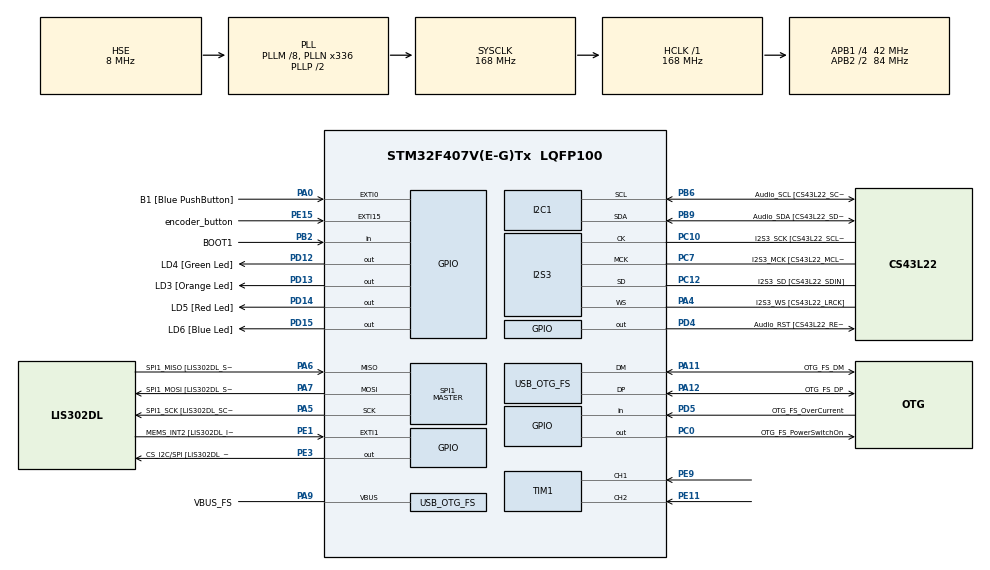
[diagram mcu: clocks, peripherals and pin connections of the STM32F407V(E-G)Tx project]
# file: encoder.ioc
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I2S3.AudioFreq-Half_Duplex_Master=I2S_AUDIOFREQ_96K
I2S3.ErrorAudioFreq=-2.34 %
I2S3.ErrorAudioFreq-Half_Duplex_Master=0.8 %
I2S3.FullDuplexMode=I2S_FULLDUPLEXMODE_DISABLE
I2S3.Instance=SPI$Index
I2S3.RealAudioFreq=93.75 KHz
I2S3.RealAudioFreq-Half_Duplex_Master=96.774 KHz
I2S3.VirtualMode=I2S_MODE_MASTER
Mcu.Family=STM32F4
Mcu.Name=STM32F407V(E-G)Tx
Mcu.Package=LQFP100
NVIC.EXTI15_10_IRQn=true\:0\:0\:false\:false\:true\:true\:true
NVIC.OTG_FS_IRQn=true\:0\:0\:false\:false\:true\:true\:true
NVIC.PriorityGroup=NVIC_PRIORITYGROUP_0
NVIC.TIM7_IRQn=true\:0\:0\:false\:false\:true\:true\:true
PA0-WKUP.GPIO_Label=B1 [Blue PushButton]
PA0-WKUP.GPIO_ModeDefaultEXTI=GPIO_MODE_EVT_RISING
PA0-WKUP.GPIO_PuPd=GPIO_NOPULL
PA0-WKUP.Signal=GPXTI0
PA10.GPIO_Label=OTG_FS_ID
PA10.GPIO_Mode=GPIO_MODE_AF_PP
PA10.GPIO_PuPd=GPIO_NOPULL
PA10.GPIO_Speed=GPIO_SPEED_FREQ_LOW
PA10.Signal=USB_OTG_FS_ID
PA11.GPIO_Label=OTG_FS_DM
PA11.GPIO_Mode=GPIO_MODE_AF_PP
PA11.GPIO_PuPd=GPIO_NOPULL
PA11.GPIO_Speed=GPIO_SPEED_FREQ_LOW
PA11.Mode=Host_Only
PA11.Signal=USB_OTG_FS_DM
PA12.GPIO_Label=OTG_FS_DP
PA12.GPIO_Mode=GPIO_MODE_AF_PP
PA12.GPIO_PuPd=GPIO_NOPULL
PA12.GPIO_Speed=GPIO_SPEED_FREQ_LOW
PA12.Mode=Host_Only
PA12.Signal=USB_OTG_FS_DP
PA13.GPIO_Label=SWDIO
PA13.Mode=Serial_Wire
PA13.Signal=SYS_JTMS-SWDIO
PA14.GPIO_Label=SWCLK
PA14.Mode=Serial_Wire
PA14.Signal=SYS_JTCK-SWCLK
PA4.GPIO_Label=I2S3_WS [CS43L22_LRCK]
PA4.GPIO_Mode=GPIO_MODE_AF_PP
PA4.GPIO_PuPd=GPIO_NOPULL
PA4.GPIO_Speed=GPIO_SPEED_FREQ_LOW
PA4.Mode=Half_Duplex_Master
PA4.Signal=I2S3_WS
PA5.GPIO_Label=SPI1_SCK [LIS302DL_SCL/SPC]
PA5.GPIO_Mode=GPIO_MODE_AF_PP
PA5.GPIO_PuPd=GPIO_NOPULL
PA5.GPIO_Speed=GPIO_SPEED_FREQ_LOW
PA5.Mode=Full_Duplex_Master
PA5.Signal=SPI1_SCK
PA6.GPIO_Label=SPI1_MISO [LIS302DL_SDO]
PA6.GPIO_Mode=GPIO_MODE_AF_PP
PA6.GPIO_PuPd=GPIO_NOPULL
PA6.GPIO_Speed=GPIO_SPEED_FREQ_LOW
PA6.Mode=Full_Duplex_Master
PA6.Signal=SPI1_MISO
PA7.GPIO_Label=SPI1_MOSI [LIS302DL_SDA/SDI/SDO]
PA7.GPIO_Mode=GPIO_MODE_AF_PP
PA7.GPIO_PuPd=GPIO_NOPULL
PA7.GPIO_Speed=GPIO_SPEED_FREQ_LOW
PA7.Mode=Full_Duplex_Master
PA7.Signal=SPI1_MOSI
PA9.GPIO_Label=VBUS_FS
PA9.GPIO_Mode=GPIO_MODE_INPUT
PA9.GPIO_PuPd=GPIO_NOPULL
PA9.Mode=Activate_VBUS
PA9.Signal=USB_OTG_FS_VBUS
PB10.GPIO_Label=CLK_IN [MP45DT02_CLK]
PB10.GPIO_Mode=GPIO_MODE_AF_PP
PB10.GPIO_PuPd=GPIO_NOPULL
PB10.GPIO_Speed=GPIO_SPEED_FREQ_LOW
PB10.Signal=I2S2_CK
PB2.GPIO_Label=BOOT1
PB2.GPIO_Mode=GPIO_MODE_INPUT
PB2.GPIO_PuPd=GPIO_NOPULL
PB2.Signal=GPIO_Input
PB3.GPIO_Label=SWO
PB3.Signal=SYS_JTDO-SWO
PB6.GPIO_Label=Audio_SCL [CS43L22_SCL]
PB6.GPIO_Mode=GPIO_MODE_AF_OD
PB6.GPIO_Pu=GPIO_PULLUP
PB6.GPIO_PuPd=GPIO_NOPULL
PB6.GPIO_Speed=GPIO_SPEED_FREQ_LOW
PB6.Mode=I2C
PB6.Signal=I2C1_SCL
PB9.GPIO_Label=Audio_SDA [CS43L22_SDA]
PB9.GPIO_Mode=GPIO_MODE_AF_OD
PB9.GPIO_Pu=GPIO_PULLUP
PB9.GPIO_PuPd=GPIO_NOPULL
PB9.GPIO_Speed=GPIO_SPEED_FREQ_LOW
PB9.Mode=I2C
PB9.Signal=I2C1_SDA
PC0.GPIO_Label=OTG_FS_PowerSwitchOn
PC0.GPIO_PuPd=GPIO_NOPULL
PC0.GPIO_Speed=GPIO_SPEED_FREQ_LOW
PC0.PinState=GPIO_PIN_SET
PC0.Signal=GPIO_Output
PC10.GPIO_Label=I2S3_SCK [CS43L22_SCLK]
PC10.GPIO_Mode=GPIO_MODE_AF_PP
PC10.GPIO_PuPd=GPIO_NOPULL
PC10.GPIO_Speed=GPIO_SPEED_FREQ_LOW
PC10.Mode=Half_Duplex_Master
PC10.Signal=I2S3_CK
PC12.GPIO_Label=I2S3_SD [CS43L22_SDIN]
PC12.GPIO_Mode=GPIO_MODE_AF_PP
PC12.GPIO_PuPd=GPIO_NOPULL
PC12.GPIO_Speed=GPIO_SPEED_FREQ_LOW
PC12.Mode=Half_Duplex_Master
PC12.Signal=I2S3_SD
PC14-OSC32_IN.GPIO_Label=PC14-OSC32_IN
PC14-OSC32_IN.Mode=LSE-External-Oscillator
PC14-OSC32_IN.Signal=RCC_OSC32_IN
PC15-OSC32_OUT.GPIO_Label=PC15-OSC32_OUT
PC15-OSC32_OUT.Mode=LSE-External-Oscillator
PC15-OSC32_OUT.Signal=RCC_OSC32_OUT
PC3.GPIO_Label=PDM_OUT [MP45DT02_DOUT]
PC3.GPIO_Mode=GPIO_MODE_AF_PP
PC3.GPIO_PuPd=GPIO_NOPULL
PC3.GPIO_Speed=GPIO_SPEED_FREQ_LOW
PC3.Signal=I2S2_SD
PC7.GPIO_Label=I2S3_MCK [CS43L22_MCLK]
PC7.GPIO_Mode=GPIO_MODE_AF_PP
PC7.GPIO_PuPd=GPIO_NOPULL
PC7.GPIO_Speed=GPIO_SPEED_FREQ_LOW
PC7.Mode=Master_Clock_Activated
PC7.Signal=I2S3_MCK
PD12.GPIO_Label=LD4 [Green Led]
PD12.GPIO_PuPd=GPIO_NOPULL
PD12.GPIO_Speed=GPIO_SPEED_FREQ_LOW
PD12.Signal=GPIO_Output
PD13.GPIO_Label=LD3 [Orange Led]
PD13.GPIO_PuPd=GPIO_NOPULL
PD13.GPIO_Speed=GPIO_SPEED_FREQ_LOW
PD13.Signal=GPIO_Output
PD14.GPIO_Label=LD5 [Red Led]
PD14.GPIO_PuPd=GPIO_NOPULL
PD14.GPIO_Speed=GPIO_SPEED_FREQ_LOW
PD14.Signal=GPIO_Output
PD15.GPIO_Label=LD6 [Blue Led]
PD15.GPIO_PuPd=GPIO_NOPULL
PD15.GPIO_Speed=GPIO_SPEED_FREQ_LOW
PD15.Signal=GPIO_Output
PD4.GPIO_Label=Audio_RST [CS43L22_RESET]
PD4.GPIO_PuPd=GPIO_NOPULL
PD4.GPIO_Speed=GPIO_SPEED_FREQ_LOW
PD4.Signal=GPIO_Output
PD5.GPIO_Label=OTG_FS_OverCurrent
PD5.GPIO_Mode=GPIO_MODE_INPUT
PD5.GPIO_PuPd=GPIO_NOPULL
PD5.Signal=GPIO_Input
PE1.GPIO_Label=MEMS_INT2 [LIS302DL_INT2]
PE1.GPIO_ModeDefaultEXTI=GPIO_MODE_EVT_RISING
PE1.GPIO_PuPd=GPIO_NOPULL
PE1.Signal=GPXTI1
PE11.Signal=S_TIM1_CH2
PE15.GPIO_Label=encoder_button
PE15.GPIO_ModeDefaultEXTI=GPIO_MODE_IT_FALLING
PE15.GPIO_PuPd=GPIO_NOPULL
PE15.Signal=GPXTI15
PE3.GPIO_Label=CS_I2C/SPI [LIS302DL_CS_I2C/SPI]
PE3.GPIO_PuPd=GPIO_NOPULL
PE3.GPIO_Speed=GPIO_SPEED_FREQ_LOW
PE3.Signal=GPIO_Output
PE9.Signal=S_TIM1_CH1
PH0-OSC_IN.GPIO_Label=PH0-OSC_IN
PH0-OSC_IN.Mode=HSE-External-Oscillator
PH0-OSC_IN.Signal=RCC_OSC_IN
PH1-OSC_OUT.GPIO_Label=PH1-OSC_OUT
PH1-OSC_OUT.Mode=HSE-External-Oscillator
PH1-OSC_OUT.Signal=RCC_OSC_OUT
ProjectManager.HeapSize=0x200
ProjectManager.StackSize=0x400
ProjectManager.TargetToolchain=STM32CubeIDE
RCC.48MHZClocksFreq_Value=48000000
RCC.AHBFreq_Value=168000000
RCC.APB1CLKDivider=RCC_HCLK_DIV4
RCC.APB1Freq_Value=42000000
RCC.APB1TimFreq_Value=84000000
RCC.APB2CLKDivider=RCC_HCLK_DIV2
RCC.APB2Freq_Value=84000000
RCC.APB2TimFreq_Value=168000000
RCC.CortexFreq_Value=168000000
RCC.HCLKFreq_Value=168000000
RCC.HSE_VALUE=8000000
RCC.HSI_VALUE=16000000
RCC.PLLM=8
RCC.PLLN=336
RCC.PLLQ=7
RCC.SYSCLKFreq_VALUE=168000000
RCC.SYSCLKSource=RCC_SYSCLKSOURCE_PLLCLK
RCC.VCOOutputFreq_Value=336000000
SH.S_TIM1_CH1.0=TIM1_CH1,Encoder_Interface
SH.S_TIM1_CH2.0=TIM1_CH2,Encoder_Interface
SPI1.BaudRatePrescaler-Full_Duplex_Master=SPI_BAUDRATEPRESCALER_2
SPI1.CalculateBaudRate-Full_Duplex_Master=42.0 MBits/s
SPI1.Direction=SPI_DIRECTION_2LINES
SPI1.Mode=SPI_MODE_MASTER
SPI1.Mode-Full_Duplex_Master=SPI_MODE_MASTER
SPI1.VirtualType=VM_MASTER
TIM7.Period=100-1
TIM7.Prescaler=8400-1
TIM7.TIM_MasterOutputTrigger=TIM_TRGO_RESET
USB_HOST.BSP.number=1
USB_HOST.USBH_HandleTypeDef-CDC_FS=hUsbHostFS
USB_HOST.VirtualModeFS=Cdc
USB_HOST0.BSP.STBoard=false
USB_HOST0.BSP.api=Unknown
USB_HOST0.BSP.i2caddr=0
USB_HOST0.BSP.i2creg=0
USB_HOST0.BSP.instance=PC0
USB_HOST0.BSP.ip=GPIO
USB_HOST0.BSP.mode=Output
USB_HOST0.BSP.name=Drive_VBUS_FS
USB_HOST0.BSP.solution=PC0
USB_OTG_FS.VirtualMode=Host_Only
USB_OTG_FS.phy_itface=HCD_PHY_EMBEDDED
VP_TIM7_VS_ClockSourceINT.Mode=Enable_Timer
VP_USB_HOST_VS_USB_HOST_CDC_FS.Mode=CDC_FS
board=STM32F407G-DISC1

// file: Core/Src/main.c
/* USER CODE BEGIN Header */
/**
  ******************************************************************************
  * @file           : main.c
  * @brief          : Main program body
  ******************************************************************************
  * @attention
  *
  * Copyright (c) 2022 STMicroelectronics.
  * All rights reserved.
  *
  * This software is licensed under terms that can be found in the LICENSE file
  * in the root directory of this software component.
  * If no LICENSE file comes with this software, it is provided AS-IS.
  *
  ******************************************************************************
  */
/* USER CODE END Header */
#include "main.h"
#include "usb_host.h"

/* USER CODE BEGIN Includes */
int32_t currCounter = 0;
int32_t prevCounter = 0;
int klick = 0;
/* USER CODE END Includes */

I2C_HandleTypeDef hi2c1;

I2S_HandleTypeDef hi2s3;

SPI_HandleTypeDef hspi1;

TIM_HandleTypeDef htim1;
TIM_HandleTypeDef htim7;

void SystemClock_Config(void);
static void MX_GPIO_Init(void);
static void MX_I2C1_Init(void);
static void MX_I2S3_Init(void);
static void MX_SPI1_Init(void);
static void MX_TIM1_Init(void);
static void MX_TIM7_Init(void);
void MX_USB_HOST_Process(void);

int main(void)
{

  /* MCU Configuration--------------------------------------------------------*/

  /* Reset of all peripherals, Initializes the Flash interface and the Systick. */
  HAL_Init();

  /* Configure the system clock */
  SystemClock_Config();

  /* Initialize all configured peripherals */
  MX_GPIO_Init();
  MX_I2C1_Init();
  MX_I2S3_Init();
  MX_SPI1_Init();
  MX_USB_HOST_Init();
  MX_TIM1_Init();
  MX_TIM7_Init();

  /* Infinite loop */
  /* USER CODE BEGIN WHILE */

  HAL_TIM_Encoder_Start(&htim1, TIM_CHANNEL_1);								// Timmer for count UP and DOWN
  __HAL_TIM_SET_COUNTER(&htim1, 0);											// Set encoder in 0

  while (1)
  {
	  switch (klick)
	  {
	  	  case 0:
	  		  HAL_GPIO_WritePin(GPIOD, LD6_Pin, GPIO_PIN_SET);
	  		  HAL_GPIO_WritePin(GPIOD, LD4_Pin, GPIO_PIN_RESET);

	  		  __HAL_TIM_SET_COUNTER(&htim1, 0);								// Start count encoder from 0

	  		  while(klick == 0)
	  		  {
	  			  currCounter = __HAL_TIM_GET_COUNTER(&htim1);
	  			  currCounter = 32767 - ((currCounter-1) & 0xFFFF) / 2;

	  			  if(currCounter != prevCounter)
	  			  {
	  				  if(currCounter > 100)									// Encoder count from 0 to 100
	  				  {
	  					  __HAL_TIM_SET_COUNTER(&htim1, 0);
	  				  }
	  				  prevCounter = currCounter;
	  			  }
	  		  }

	  		  break;

	  	  case 1:
	  		  HAL_GPIO_WritePin(GPIOD, LD5_Pin, GPIO_PIN_SET);
	  		  HAL_GPIO_WritePin(GPIOD, LD6_Pin, GPIO_PIN_RESET);

	  		  __HAL_TIM_SET_COUNTER(&htim1, 0);								// Start count encoder from 0

	  		 while(klick == 1)
	  		 {
	  			 currCounter = __HAL_TIM_GET_COUNTER(&htim1);
	  			 currCounter = 32767 - ((currCounter-1) & 0xFFFF) / 2;

	  			 if(currCounter != prevCounter)
	  			 {
	  				 if(currCounter > 10)
	  				 {
	  					 __HAL_TIM_SET_COUNTER(&htim1, 0);					// Encoder count from 0 to 10
	  				 }

	  				 prevCounter = currCounter;

	  			 }
	  		 }

	  		  break;

	  	  case 2:
	  		 HAL_GPIO_WritePin(GPIOD, LD3_Pin, GPIO_PIN_SET);
	  		 HAL_GPIO_WritePin(GPIOD, LD5_Pin, GPIO_PIN_RESET);

	  		 __HAL_TIM_SET_COUNTER(&htim1, 1);								// Start count encoder from 1

	  		 while(klick == 2)
	  		 {
	  			 currCounter = __HAL_TIM_GET_COUNTER(&htim1);
	  			 currCounter = 32767 - ((currCounter-1) & 0xFFFF) / 2;

	  			 if(currCounter != prevCounter)
	  			 {
	  				 if(currCounter > 31)
	  				 {
	  					 __HAL_TIM_SET_COUNTER(&htim1, 0);					// Encoder count from 1 to 32
	  				 }

	  				 prevCounter = currCounter;

	  			 }
	  		 }
	  		 break;

	  	  case 3:
	  		  HAL_GPIO_WritePin(GPIOD, LD4_Pin, GPIO_PIN_SET);
	  		  HAL_GPIO_WritePin(GPIOD, LD3_Pin, GPIO_PIN_RESET);

	  		  __HAL_TIM_SET_COUNTER(&htim1, 0);

	  		  while(klick == 3)
	  		  {
	  			  currCounter = __HAL_TIM_GET_COUNTER(&htim1);
	  			  currCounter = 32767 - ((currCounter-1) & 0xFFFF) / 2;

	  			  if(currCounter != prevCounter)
	  			  {
	  				  if(currCounter > 20)
	  				  {
	  					  __HAL_TIM_SET_COUNTER(&htim1, 0);
	  				  }

	  				  prevCounter = currCounter;

	  			  }
	  		  }
	  		  break;
	  }

    /* USER CODE END WHILE */
    MX_USB_HOST_Process();

  }
}

void SystemClock_Config(void)
{
  RCC_OscInitTypeDef RCC_OscInitStruct = {0};
  RCC_ClkInitTypeDef RCC_ClkInitStruct = {0};

  /** Configure the main internal regulator output voltage
  */
  __HAL_RCC_PWR_CLK_ENABLE();
  __HAL_PWR_VOLTAGESCALING_CONFIG(PWR_REGULATOR_VOLTAGE_SCALE1);
  /** Initializes the RCC Oscillators according to the specified parameters
  * in the RCC_OscInitTypeDef structure.
  */
  RCC_OscInitStruct.OscillatorType = RCC_OSCILLATORTYPE_HSE;
  RCC_OscInitStruct.HSEState = RCC_HSE_ON;
  RCC_OscInitStruct.PLL.PLLState = RCC_PLL_ON;
  RCC_OscInitStruct.PLL.PLLSource = RCC_PLLSOURCE_HSE;
  RCC_OscInitStruct.PLL.PLLM = 8;
  RCC_OscInitStruct.PLL.PLLN = 336;
  RCC_OscInitStruct.PLL.PLLP = RCC_PLLP_DIV2;
  RCC_OscInitStruct.PLL.PLLQ = 7;
  if (HAL_RCC_OscConfig(&RCC_OscInitStruct) != HAL_OK)
  {
    Error_Handler();
  }
  /** Initializes the CPU, AHB and APB buses clocks
  */
  RCC_ClkInitStruct.ClockType = RCC_CLOCKTYPE_HCLK|RCC_CLOCKTYPE_SYSCLK
                              |RCC_CLOCKTYPE_PCLK1|RCC_CLOCKTYPE_PCLK2;
  RCC_ClkInitStruct.SYSCLKSource = RCC_SYSCLKSOURCE_PLLCLK;
  RCC_ClkInitStruct.AHBCLKDivider = RCC_SYSCLK_DIV1;
  RCC_ClkInitStruct.APB1CLKDivider = RCC_HCLK_DIV4;
  RCC_ClkInitStruct.APB2CLKDivider = RCC_HCLK_DIV2;

  if (HAL_RCC_ClockConfig(&RCC_ClkInitStruct, FLASH_LATENCY_5) != HAL_OK)
  {
    Error_Handler();
  }
}

static void MX_I2C1_Init(void)
{

  hi2c1.Instance = I2C1;
  hi2c1.Init.ClockSpeed = 100000;
  hi2c1.Init.DutyCycle = I2C_DUTYCYCLE_2;
  hi2c1.Init.OwnAddress1 = 0;
  hi2c1.Init.AddressingMode = I2C_ADDRESSINGMODE_7BIT;
  hi2c1.Init.DualAddressMode = I2C_DUALADDRESS_DISABLE;
  hi2c1.Init.OwnAddress2 = 0;
  hi2c1.Init.GeneralCallMode = I2C_GENERALCALL_DISABLE;
  hi2c1.Init.NoStretchMode = I2C_NOSTRETCH_DISABLE;
  if (HAL_I2C_Init(&hi2c1) != HAL_OK)
  {
    Error_Handler();
  }

}

static void MX_I2S3_Init(void)
{

  hi2s3.Instance = SPI3;
  hi2s3.Init.Mode = I2S_MODE_MASTER_TX;
  hi2s3.Init.Standard = I2S_STANDARD_PHILIPS;
  hi2s3.Init.DataFormat = I2S_DATAFORMAT_16B;
  hi2s3.Init.MCLKOutput = I2S_MCLKOUTPUT_ENABLE;
  hi2s3.Init.AudioFreq = I2S_AUDIOFREQ_96K;
  hi2s3.Init.CPOL = I2S_CPOL_LOW;
  hi2s3.Init.ClockSource = I2S_CLOCK_PLL;
  hi2s3.Init.FullDuplexMode = I2S_FULLDUPLEXMODE_DISABLE;
  if (HAL_I2S_Init(&hi2s3) != HAL_OK)
  {
    Error_Handler();
  }

}

static void MX_SPI1_Init(void)
{

  /* SPI1 parameter configuration*/
  hspi1.Instance = SPI1;
  hspi1.Init.Mode = SPI_MODE_MASTER;
  hspi1.Init.Direction = SPI_DIRECTION_2LINES;
  hspi1.Init.DataSize = SPI_DATASIZE_8BIT;
  hspi1.Init.CLKPolarity = SPI_POLARITY_LOW;
  hspi1.Init.CLKPhase = SPI_PHASE_1EDGE;
  hspi1.Init.NSS = SPI_NSS_SOFT;
  hspi1.Init.BaudRatePrescaler = SPI_BAUDRATEPRESCALER_2;
  hspi1.Init.FirstBit = SPI_FIRSTBIT_MSB;
  hspi1.Init.TIMode = SPI_TIMODE_DISABLE;
  hspi1.Init.CRCCalculation = SPI_CRCCALCULATION_DISABLE;
  hspi1.Init.CRCPolynomial = 10;
  if (HAL_SPI_Init(&hspi1) != HAL_OK)
  {
    Error_Handler();
  }

}

static void MX_TIM1_Init(void)
{

  TIM_Encoder_InitTypeDef sConfig = {0};
  TIM_MasterConfigTypeDef sMasterConfig = {0};

  htim1.Instance = TIM1;
  htim1.Init.Prescaler = 0;
  htim1.Init.CounterMode = TIM_COUNTERMODE_UP;
  htim1.Init.Period = 65535;
  htim1.Init.ClockDivision = TIM_CLOCKDIVISION_DIV1;
  htim1.Init.RepetitionCounter = 0;
  htim1.Init.AutoReloadPreload = TIM_AUTORELOAD_PRELOAD_DISABLE;
  sConfig.EncoderMode = TIM_ENCODERMODE_TI1;
  sConfig.IC1Polarity = TIM_ICPOLARITY_RISING;
  sConfig.IC1Selection = TIM_ICSELECTION_DIRECTTI;
  sConfig.IC1Prescaler = TIM_ICPSC_DIV1;
  sConfig.IC1Filter = 0;
  sConfig.IC2Polarity = TIM_ICPOLARITY_RISING;
  sConfig.IC2Selection = TIM_ICSELECTION_DIRECTTI;
  sConfig.IC2Prescaler = TIM_ICPSC_DIV1;
  sConfig.IC2Filter = 0;
  if (HAL_TIM_Encoder_Init(&htim1, &sConfig) != HAL_OK)
  {
    Error_Handler();
  }
  sMasterConfig.MasterOutputTrigger = TIM_TRGO_RESET;
  sMasterConfig.MasterSlaveMode = TIM_MASTERSLAVEMODE_DISABLE;
  if (HAL_TIMEx_MasterConfigSynchronization(&htim1, &sMasterConfig) != HAL_OK)
  {
    Error_Handler();
  }

}

static void MX_TIM7_Init(void)
{

  TIM_MasterConfigTypeDef sMasterConfig = {0};

  htim7.Instance = TIM7;
  htim7.Init.Prescaler = 8400-1;
  htim7.Init.CounterMode = TIM_COUNTERMODE_UP;
  htim7.Init.Period = 100-1;
  htim7.Init.AutoReloadPreload = TIM_AUTORELOAD_PRELOAD_DISABLE;
  if (HAL_TIM_Base_Init(&htim7) != HAL_OK)
  {
    Error_Handler();
  }
  sMasterConfig.MasterOutputTrigger = TIM_TRGO_RESET;
  sMasterConfig.MasterSlaveMode = TIM_MASTERSLAVEMODE_DISABLE;
  if (HAL_TIMEx_MasterConfigSynchronization(&htim7, &sMasterConfig) != HAL_OK)
  {
    Error_Handler();
  }

}

static void MX_GPIO_Init(void)
{
  GPIO_InitTypeDef GPIO_InitStruct = {0};

  /* GPIO Ports Clock Enable */
  __HAL_RCC_GPIOE_CLK_ENABLE();
  __HAL_RCC_GPIOC_CLK_ENABLE();
  __HAL_RCC_GPIOH_CLK_ENABLE();
  __HAL_RCC_GPIOA_CLK_ENABLE();
  __HAL_RCC_GPIOB_CLK_ENABLE();
  __HAL_RCC_GPIOD_CLK_ENABLE();

  /*Configure GPIO pin Output Level */
  HAL_GPIO_WritePin(CS_I2C_SPI_GPIO_Port, CS_I2C_SPI_Pin, GPIO_PIN_RESET);

  /*Configure GPIO pin Output Level */
  HAL_GPIO_WritePin(OTG_FS_PowerSwitchOn_GPIO_Port, OTG_FS_PowerSwitchOn_Pin, GPIO_PIN_SET);

  /*Configure GPIO pin Output Level */
  HAL_GPIO_WritePin(GPIOD, LD4_Pin|LD3_Pin|LD5_Pin|LD6_Pin
                          |Audio_RST_Pin, GPIO_PIN_RESET);

  /*Configure GPIO pin : CS_I2C_SPI_Pin */
  GPIO_InitStruct.Pin = CS_I2C_SPI_Pin;
  GPIO_InitStruct.Mode = GPIO_MODE_OUTPUT_PP;
  GPIO_InitStruct.Pull = GPIO_NOPULL;
  GPIO_InitStruct.Speed = GPIO_SPEED_FREQ_LOW;
  HAL_GPIO_Init(CS_I2C_SPI_GPIO_Port, &GPIO_InitStruct);

  /*Configure GPIO pin : OTG_FS_PowerSwitchOn_Pin */
  GPIO_InitStruct.Pin = OTG_FS_PowerSwitchOn_Pin;
  GPIO_InitStruct.Mode = GPIO_MODE_OUTPUT_PP;
  GPIO_InitStruct.Pull = GPIO_NOPULL;
  GPIO_InitStruct.Speed = GPIO_SPEED_FREQ_LOW;
  HAL_GPIO_Init(OTG_FS_PowerSwitchOn_GPIO_Port, &GPIO_InitStruct);

  /*Configure GPIO pin : PDM_OUT_Pin */
  GPIO_InitStruct.Pin = PDM_OUT_Pin;
  GPIO_InitStruct.Mode = GPIO_MODE_AF_PP;
  GPIO_InitStruct.Pull = GPIO_NOPULL;
  GPIO_InitStruct.Speed = GPIO_SPEED_FREQ_LOW;
  GPIO_InitStruct.Alternate = GPIO_AF5_SPI2;
  HAL_GPIO_Init(PDM_OUT_GPIO_Port, &GPIO_InitStruct);

  /*Configure GPIO pin : B1_Pin */
  GPIO_InitStruct.Pin = B1_Pin;
  GPIO_InitStruct.Mode = GPIO_MODE_EVT_RISING;
  GPIO_InitStruct.Pull = GPIO_NOPULL;
  HAL_GPIO_Init(B1_GPIO_Port, &GPIO_InitStruct);

  /*Configure GPIO pin : BOOT1_Pin */
  GPIO_InitStruct.Pin = BOOT1_Pin;
  GPIO_InitStruct.Mode = GPIO_MODE_INPUT;
  GPIO_InitStruct.Pull = GPIO_NOPULL;
  HAL_GPIO_Init(BOOT1_GPIO_Port, &GPIO_InitStruct);

  /*Configure GPIO pin : encoder_button_Pin */
  GPIO_InitStruct.Pin = encoder_button_Pin;
  GPIO_InitStruct.Mode = GPIO_MODE_IT_FALLING;
  GPIO_InitStruct.Pull = GPIO_NOPULL;
  HAL_GPIO_Init(encoder_button_GPIO_Port, &GPIO_InitStruct);

  /*Configure GPIO pin : CLK_IN_Pin */
  GPIO_InitStruct.Pin = CLK_IN_Pin;
  GPIO_InitStruct.Mode = GPIO_MODE_AF_PP;
  GPIO_InitStruct.Pull = GPIO_NOPULL;
  GPIO_InitStruct.Speed = GPIO_SPEED_FREQ_LOW;
  GPIO_InitStruct.Alternate = GPIO_AF5_SPI2;
  HAL_GPIO_Init(CLK_IN_GPIO_Port, &GPIO_InitStruct);

  /*Configure GPIO pins : LD4_Pin LD3_Pin LD5_Pin LD6_Pin
                           Audio_RST_Pin */
  GPIO_InitStruct.Pin = LD4_Pin|LD3_Pin|LD5_Pin|LD6_Pin
                          |Audio_RST_Pin;
  GPIO_InitStruct.Mode = GPIO_MODE_OUTPUT_PP;
  GPIO_InitStruct.Pull = GPIO_NOPULL;
  GPIO_InitStruct.Speed = GPIO_SPEED_FREQ_LOW;
  HAL_GPIO_Init(GPIOD, &GPIO_InitStruct);

  /*Configure GPIO pin : OTG_FS_OverCurrent_Pin */
  GPIO_InitStruct.Pin = OTG_FS_OverCurrent_Pin;
  GPIO_InitStruct.Mode = GPIO_MODE_INPUT;
  GPIO_InitStruct.Pull = GPIO_NOPULL;
  HAL_GPIO_Init(OTG_FS_OverCurrent_GPIO_Port, &GPIO_InitStruct);

  /*Configure GPIO pin : MEMS_INT2_Pin */
  GPIO_InitStruct.Pin = MEMS_INT2_Pin;
  GPIO_InitStruct.Mode = GPIO_MODE_EVT_RISING;
  GPIO_InitStruct.Pull = GPIO_NOPULL;
  HAL_GPIO_Init(MEMS_INT2_GPIO_Port, &GPIO_InitStruct);

  /* EXTI interrupt init*/
  HAL_NVIC_SetPriority(EXTI15_10_IRQn, 0, 0);
  HAL_NVIC_EnableIRQ(EXTI15_10_IRQn);

}

void Error_Handler(void)
{
  __disable_irq();
  while (1)
  {
  }
}
